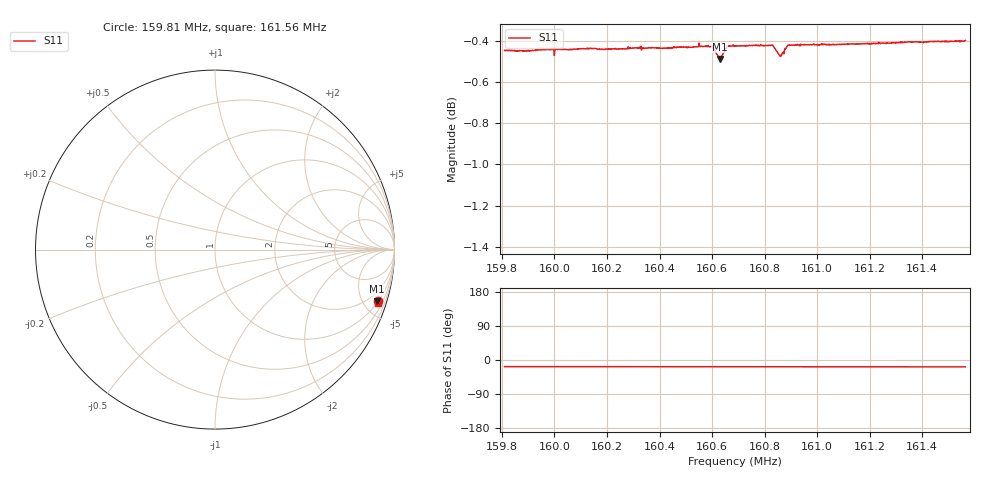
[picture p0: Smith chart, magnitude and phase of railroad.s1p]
! Calibrated averaged scanner-service zoom
# Hz S RI R 50
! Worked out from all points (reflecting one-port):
!   1001 points, 159.81 MHz to 161.56 MHz, reference 50 ohm
!   lowest |S11| = -0.5 dB at 160.63 MHz (marker M1), VSWR 35.67, Z = 57.2 - j310 ohm
!   phase of S11 starts at -18 deg and turns -1 deg over the sweep
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1.5981e8  0.9058 -0.2864
1.59889e8  0.9054 -0.2868
1.599662e8  0.906 -0.2875
1.600294e8  0.9061 -0.2875
1.601434e8  0.9063 -0.2881
1.602488e8  0.9061 -0.2884
1.603207e8  0.9066 -0.2888
1.60419e8  0.9061 -0.2893
1.604681e8  0.9068 -0.2891
1.604927e8  0.9065 -0.2897
1.605927e8  0.9065 -0.2907
1.606033e8  0.906 -0.2902
1.606226e8  0.902 -0.2884
1.606296e8  0.9006 -0.2878
1.606366e8  0.9019 -0.2883
1.606594e8  0.9067 -0.2911
1.606875e8  0.9069 -0.2912
1.608244e8  0.9068 -0.2921
1.608349e8  0.9061 -0.2918
1.608525e8  0.9026 -0.2906
1.608612e8  0.9013 -0.29
1.608665e8  0.9026 -0.2906
1.608858e8  0.9061 -0.2922
1.608963e8  0.9068 -0.2924
1.609069e8  0.9068 -0.2925
1.611262e8  0.907 -0.2937
1.613456e8  0.9078 -0.295
1.61565e8  0.9081 -0.2967
